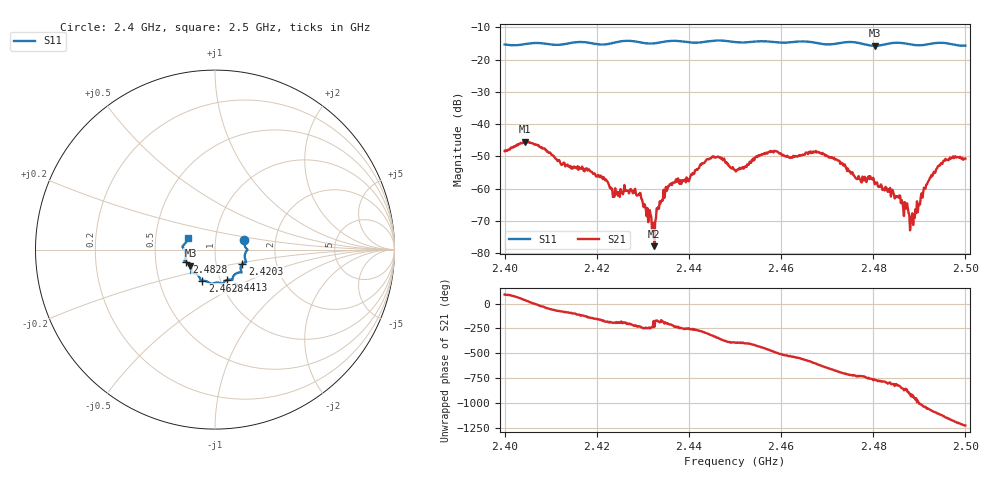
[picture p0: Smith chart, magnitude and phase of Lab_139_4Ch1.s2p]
# Hz S RI R 50
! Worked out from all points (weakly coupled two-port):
!   601 points, 2.4 GHz to 2.5 GHz, reference 50 ohm
!   highest |S21| = -45.47 dB at 2.4043 GHz (marker M1); lowest = -77.8 dB at 2.4325 GHz (marker M2)
!   lowest |S11| = -15.7 dB at 2.4803 GHz (marker M3), VSWR 1.39, Z = 37.4 - j6.81 ohm
!   |S11| at or under -10 dB: start of sweep to end of sweep
!   S12 and S22 are empty: the file has one direction only
!   S11 on the Smith chart (normalised r, x): 2.4 GHz: 1.38, +0.15; 2.4203 GHz: 1.34, -0.22; 2.4413 GHz: 1.08, -0.38; 2.4628 GHz: 0.82, -0.29; 2.4828 GHz: 0.72, -0.10; 2.5 GHz: 0.73, +0.10
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2.4e9  0.1627 0.0527  -2.5e-05 0.00383  0 0  0 0
2.404333e9  0.1732 0.00735  0.00433 0.00311  0 0  0 0
2.416667e9  0.1736 -0.0696  -0.001 -0.00178  0 0  0 0
2.420333e9  0.1528 -0.0799  -0.0015 -0.000638  0 0  0 0
2.424e9  0.1437 -0.1147  -0.000997 0.000198  0 0  0 0
2.429333e9  0.1349 -0.127  -0.000527 0.000683  0 0  0 0
2.4325e9  0.1045 -0.1445  -7.11e-05 0.000108  0 0  0 0
2.433333e9  0.1001 -0.1517  -0.000522 1.17e-05  0 0  0 0
2.436e9  0.0978 -0.1679  -0.00103 0.000559  0 0  0 0
2.441333e9  0.0674 -0.1694  -0.000148 0.00193  0 0  0 0
2.4455e9  0.0427 -0.1916  0.00269 0.00144  0 0  0 0
2.45e9  0.0244 -0.1852  0.00163 -0.00105  0 0  0 0
2.457667e9  -0.0282 -0.1871  -0.00133 -0.00344  0 0  0 0
2.462833e9  -0.0713 -0.1736  -0.00312 -0.000111  0 0  0 0
2.466667e9  -0.0812 -0.1674  -0.0025 0.00276  0 0  0 0
2.480333e9  -0.1372 -0.0886  0.000776 -0.000875  0 0  0 0
2.482833e9  -0.1588 -0.0701  0.000275 -0.000998  0 0  0 0
2.483333e9  -0.1628 -0.0684  0.00019 -0.00097  0 0  0 0
2.4885e9  -0.1647 -0.0416  -0.000326 0.000259  0 0  0 0
2.4915e9  -0.1705 -0.00341  0.000969 0.000625  0 0  0 0
2.494167e9  -0.181 0.0156  0.00204 -0.001  0 0  0 0
2.5e9  -0.1518 0.0642  -0.00239 -0.00169  0 0  0 0
